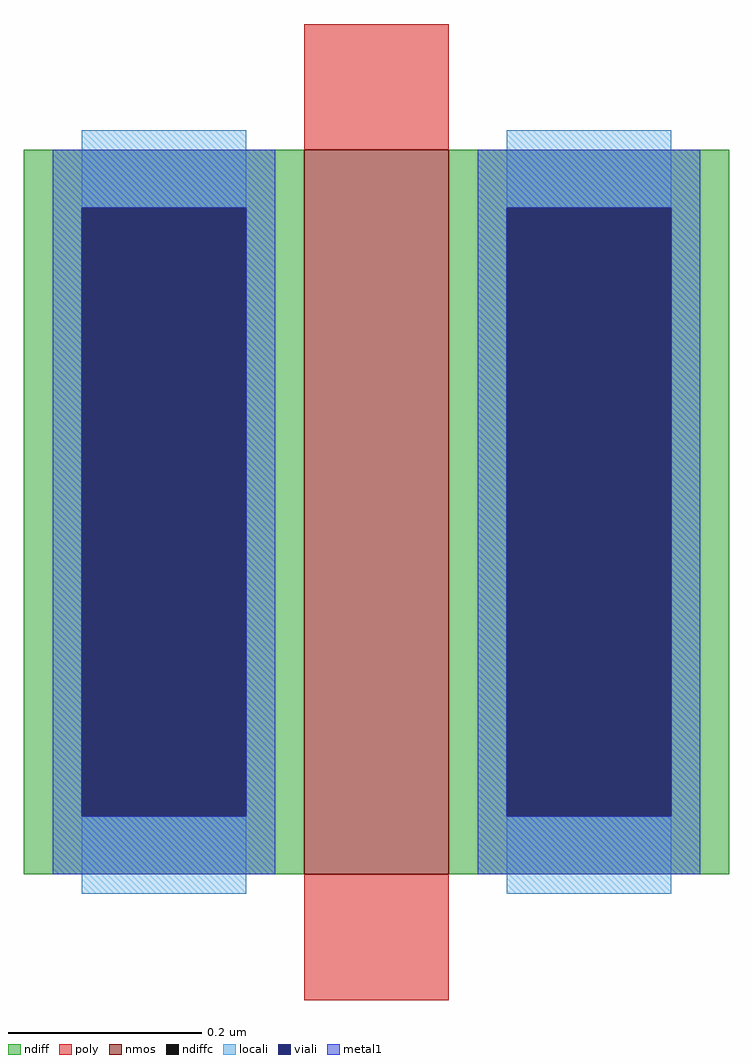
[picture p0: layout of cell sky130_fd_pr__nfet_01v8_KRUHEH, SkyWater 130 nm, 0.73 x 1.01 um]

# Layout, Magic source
magic
tech sky130A
magscale 1 2
<< nmos >>
rect -15 -75 15 75
<< ndiff >>
rect -73 63 -15 75
rect -73 -63 -61 63
rect -27 -63 -15 63
rect -73 -75 -15 -63
rect 15 63 73 75
rect 15 -63 27 63
rect 61 -63 73 63
rect 15 -75 73 -63
<< ndiffc >>
rect -61 -63 -27 63
rect 27 -63 61 63
<< poly >>
rect -15 75 15 101
rect -15 -101 15 -75
<< locali >>
rect -61 63 -27 79
rect -61 -79 -27 -63
rect 27 63 61 79
rect 27 -79 61 -63
<< viali >>
rect -61 -63 -27 63
rect 27 -63 61 63
<< metal1 >>
rect -67 63 -21 75
rect -67 -63 -61 63
rect -27 -63 -21 63
rect -67 -75 -21 -63
rect 21 63 67 75
rect 21 -63 27 63
rect 61 -63 67 63
rect 21 -75 67 -63
<< properties >>
string gencell sky130_fd_pr__nfet_01v8
string library sky130
string parameters w 0.75 l 0.150 m 1 nf 1 diffcov 100 polycov 100 guard 0 glc 0 grc 0 gtc 0 gbc 0 tbcov 100 rlcov 100 topc 0 botc 0 poverlap 0 doverlap 0 lmin 0.15 wmin 0.42 class mosfet compatible {sky130_fd_pr__nfet_01v8 sky130_fd_pr__nfet_01v8_lvt  sky130_fd_bs_flash__special_sonosfet_star  sky130_fd_pr__nfet_g5v0d10v5 sky130_fd_pr__nfet_05v0_nvt  sky130_fd_pr__nfet_03v3_nvt} full_metal 0 viasrc 100 viadrn 100 viagate 100 viagb 0 viagr 0 viagl 0 viagt 0
<< end >>
